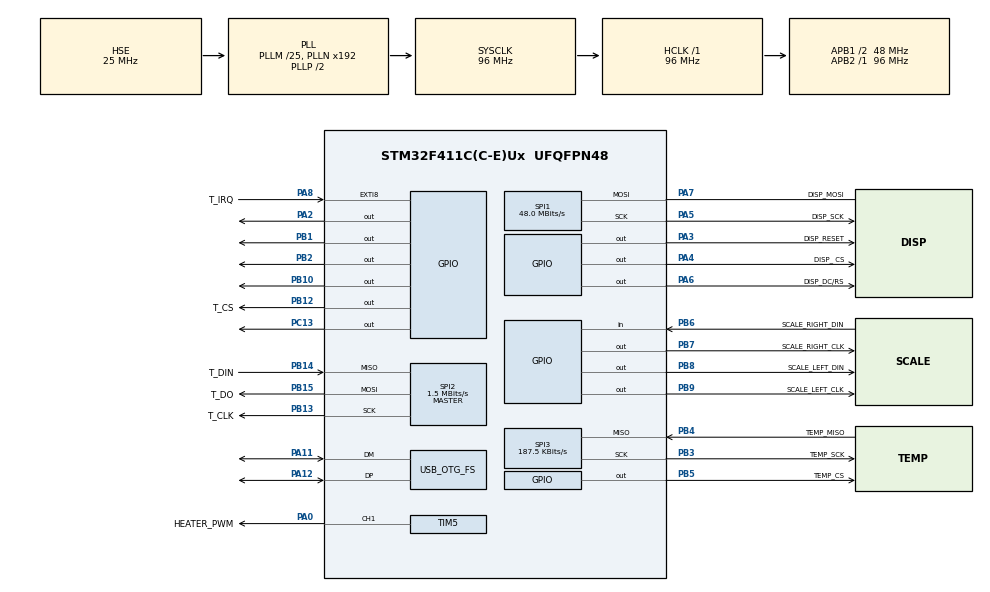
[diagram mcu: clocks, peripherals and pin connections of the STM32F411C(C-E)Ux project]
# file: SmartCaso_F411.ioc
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Dma.Request0=SPI1_TX
Dma.SPI1_TX.0.Direction=DMA_MEMORY_TO_PERIPH
Dma.SPI1_TX.0.FIFOMode=DMA_FIFOMODE_DISABLE
Dma.SPI1_TX.0.Instance=DMA2_Stream2
Dma.SPI1_TX.0.MemDataAlignment=DMA_MDATAALIGN_BYTE
Dma.SPI1_TX.0.MemInc=DMA_MINC_ENABLE
Dma.SPI1_TX.0.Mode=DMA_NORMAL
Dma.SPI1_TX.0.PeriphDataAlignment=DMA_PDATAALIGN_BYTE
Dma.SPI1_TX.0.PeriphInc=DMA_PINC_DISABLE
Dma.SPI1_TX.0.Priority=DMA_PRIORITY_LOW
Mcu.Family=STM32F4
Mcu.Name=STM32F411C(C-E)Ux
Mcu.Package=UFQFPN48
NVIC.DMA2_Stream2_IRQn=true\:0\:0\:false\:false\:true\:false\:true\:true
NVIC.EXTI9_5_IRQn=true\:0\:0\:false\:false\:true\:true\:true\:true
NVIC.OTG_FS_IRQn=true\:0\:0\:false\:false\:true\:false\:true\:true
NVIC.PriorityGroup=NVIC_PRIORITYGROUP_4
NVIC.TIM2_IRQn=true\:0\:0\:false\:false\:true\:true\:true\:true
NVIC.TIM3_IRQn=true\:0\:0\:false\:false\:true\:true\:true\:true
PA0-WKUP.GPIO_Label=HEATER_PWM
PA0-WKUP.Signal=S_TIM5_CH1
PA11.Mode=Device_Only
PA11.Signal=USB_OTG_FS_DM
PA12.Mode=Device_Only
PA12.Signal=USB_OTG_FS_DP
PA13.Mode=Serial_Wire
PA13.Signal=SYS_JTMS-SWDIO
PA14.Mode=Serial_Wire
PA14.Signal=SYS_JTCK-SWCLK
PA2.Signal=GPIO_Output
PA3.GPIO_Label=DISP_RESET
PA3.GPIO_PuPd=GPIO_PULLUP
PA3.PinState=GPIO_PIN_SET
PA3.Signal=GPIO_Output
PA4.GPIO_Label=DISP_ CS
PA4.GPIO_PuPd=GPIO_PULLUP
PA4.PinState=GPIO_PIN_SET
PA4.Signal=GPIO_Output
PA5.GPIO_Label=DISP_SCK
PA5.Mode=Simplex_Bidirectional_Master
PA5.Signal=SPI1_SCK
PA6.GPIO_Label=DISP_DC/RS
PA6.Signal=GPIO_Output
PA7.GPIO_Label=DISP_MOSI
PA7.Mode=Simplex_Bidirectional_Master
PA7.Signal=SPI1_MOSI
PA8.GPIO_Label=T_IRQ
PA8.GPIO_ModeDefaultEXTI=GPIO_MODE_IT_FALLING
PA8.GPIO_PuPd=GPIO_PULLUP
PA8.Signal=GPXTI8
PB1.Signal=GPIO_Output
PB10.GPIO_PuPd=GPIO_PULLDOWN
PB10.Signal=GPIO_Output
PB12.GPIO_Label=T_CS
PB12.Signal=GPIO_Output
PB13.GPIO_Label=T_CLK
PB13.Mode=Full_Duplex_Master
PB13.Signal=SPI2_SCK
PB14.GPIO_Label=T_DIN
PB14.Mode=Full_Duplex_Master
PB14.Signal=SPI2_MISO
PB15.GPIO_Label=T_DO
PB15.Mode=Full_Duplex_Master
PB15.Signal=SPI2_MOSI
PB2.GPIO_PuPd=GPIO_PULLDOWN
PB2.Signal=GPIO_Output
PB3.GPIO_Label=TEMP_SCK
PB3.Mode=RX_Only_Simplex_Unidirect_Master
PB3.Signal=SPI3_SCK
PB4.GPIO_Label=TEMP_MISO
PB4.Mode=RX_Only_Simplex_Unidirect_Master
PB4.Signal=SPI3_MISO
PB5.GPIO_Label=TEMP_CS
PB5.Signal=GPIO_Output
PB6.GPIO_Label=SCALE_RIGHT_DIN
PB6.Signal=GPIO_Input
PB7.GPIO_Label=SCALE_RIGHT_CLK
PB7.Signal=GPIO_Output
PB8.GPIO_Label=SCALE_LEFT_DIN
PB8.Signal=GPIO_Output
PB9.GPIO_Label=SCALE_LEFT_CLK
PB9.Signal=GPIO_Output
PC13-ANTI_TAMP.GPIO_PuPd=GPIO_PULLUP
PC13-ANTI_TAMP.PinState=GPIO_PIN_SET
PC13-ANTI_TAMP.Signal=GPIO_Output
PC14-OSC32_IN.Mode=LSE-External-Oscillator
PC14-OSC32_IN.Signal=RCC_OSC32_IN
PC15-OSC32_OUT.Mode=LSE-External-Oscillator
PC15-OSC32_OUT.Signal=RCC_OSC32_OUT
PH0\ -\ OSC_IN.Mode=HSE-External-Oscillator
PH0\ -\ OSC_IN.Signal=RCC_OSC_IN
PH1\ -\ OSC_OUT.Mode=HSE-External-Oscillator
PH1\ -\ OSC_OUT.Signal=RCC_OSC_OUT
ProjectManager.HeapSize=0x200
ProjectManager.StackSize=0x400
ProjectManager.TargetToolchain=STM32CubeIDE
RCC.48MHZClocksFreq_Value=48000000
RCC.AHBFreq_Value=96000000
RCC.APB1CLKDivider=RCC_HCLK_DIV2
RCC.APB1Freq_Value=48000000
RCC.APB1TimFreq_Value=96000000
RCC.APB2Freq_Value=96000000
RCC.APB2TimFreq_Value=96000000
RCC.CortexFreq_Value=96000000
RCC.HCLKFreq_Value=96000000
RCC.HSE_VALUE=25000000
RCC.HSI_VALUE=16000000
RCC.PLLM=25
RCC.SYSCLKFreq_VALUE=96000000
RCC.SYSCLKSource=RCC_SYSCLKSOURCE_PLLCLK
RCC.VCOOutputFreq_Value=192000000
SH.S_TIM5_CH1.0=TIM5_CH1,PWM Generation1 CH1
SPI1.BaudRatePrescaler=SPI_BAUDRATEPRESCALER_2
SPI1.CalculateBaudRate=48.0 MBits/s
SPI1.Direction=SPI_DIRECTION_1LINE
SPI1.Mode=SPI_MODE_MASTER
SPI1.VirtualType=VM_MASTER
SPI2.BaudRatePrescaler=SPI_BAUDRATEPRESCALER_32
SPI2.CalculateBaudRate=1.5 MBits/s
SPI2.Direction=SPI_DIRECTION_2LINES
SPI2.Mode=SPI_MODE_MASTER
SPI2.VirtualType=VM_MASTER
SPI3.BaudRatePrescaler=SPI_BAUDRATEPRESCALER_256
SPI3.CalculateBaudRate=187.5 KBits/s
SPI3.DataSize=SPI_DATASIZE_16BIT
SPI3.Direction=SPI_DIRECTION_2LINES_RXONLY
SPI3.Mode=SPI_MODE_MASTER
SPI3.VirtualType=VM_MASTER
STMicroelectronics.X-CUBE-TOUCHGFX.4.23.1.ApplicationCcGraphicsJjApplication=TouchGFXOoGenerator
STMicroelectronics.X-CUBE-TOUCHGFX.4.23.1.tgfx_buffering_strategy=Partial
STMicroelectronics.X-CUBE-TOUCHGFX.4.23.1.tgfx_custom_height=320
STMicroelectronics.X-CUBE-TOUCHGFX.4.23.1.tgfx_custom_width=480
STMicroelectronics.X-CUBE-TOUCHGFX.4.23.1_IsPackSelfContextualization=true
TIM2.Period=5555
TIM2.Prescaler=959
TIM3.Period=2499
TIM3.Prescaler=9599
TIM5.Channel-PWM\ Generation1\ CH1=TIM_CHANNEL_1
TIM5.Period=9999
TIM5.Prescaler=9599
USB_DEVICE.CLASS_NAME_FS=CDC
USB_DEVICE.VirtualMode=Cdc
USB_DEVICE.VirtualModeFS=Cdc_FS
USB_OTG_FS.VirtualMode=Device_Only
VP_CRC_VS_CRC.Mode=CRC_Activate
VP_STMicroelectronics.X-CUBE-TOUCHGFX_VS_GraphicsJjApplication_4.23.1.Mode=GraphicsJjApplication
VP_TIM2_VS_ClockSourceINT.Mode=Internal
VP_TIM3_VS_ClockSourceINT.Mode=Internal
VP_USB_DEVICE_VS_USB_DEVICE_CDC_FS.Mode=CDC_FS
board=custom

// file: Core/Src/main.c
/* USER CODE BEGIN Header */
/**
  ******************************************************************************
  * @file           : main.c
  * @brief          : Main program body
  ******************************************************************************
  * @attention
  *
  * Copyright (c) 2024 STMicroelectronics.
  * All rights reserved.
  *
  * This software is licensed under terms that can be found in the LICENSE file
  * in the root directory of this software component.
  * If no LICENSE file comes with this software, it is provided AS-IS.
  *
  ******************************************************************************
  */
/* USER CODE END Header */
#include "main.h"
#include "crc.h"
#include "dma.h"
#include "spi.h"
#include "tim.h"
#include "usb_device.h"
#include "gpio.h"
#include "app_touchgfx.h"

/* USER CODE BEGIN Includes */
#include "ST7796.h"
#include "xpt2046.h"
#include "TemperatureControl.h"
#include "MAX6675.h"
#include "HX711.h"
#include "config.h"
/* USER CODE END Includes */

/* USER CODE BEGIN PD */
//#define scale
/* USER CODE END PD */

/* USER CODE BEGIN PV */
hx711_t loadcell_right;
hx711_t loadcell_left;

PIDController temp_controller;
/* USER CODE END PV */

void SystemClock_Config(void);
/* USER CODE BEGIN PFP */

extern uint8_t CDC_Transmit_FS(uint8_t* Buf, uint16_t Len);
void InitLoadCells(void);
void InitPIDController(void);

/* USER CODE END PFP */

/* USER CODE BEGIN 0 */

//USB buffer
uint8_t buffer[15];

//Temperature control variables
float temperature;
float goal_temp=TARGET_TEMP;
uint32_t control;

//Scale variables
long weightLeft = 0;
long weightRight = 0;
long weight=0;
bool ReadSensorData=true;
/* USER CODE END 0 */

int main(void)
{
  /* USER CODE BEGIN 1 */
	InitPIDController();
  /* USER CODE END 1 */

  /* MCU Configuration--------------------------------------------------------*/

  /* Reset of all peripherals, Initializes the Flash interface and the Systick. */
  HAL_Init();

  /* Configure the system clock */
  SystemClock_Config();

  /* Initialize all configured peripherals */
  MX_GPIO_Init();
  MX_DMA_Init();
  MX_SPI1_Init();
  MX_SPI2_Init();
  MX_SPI3_Init();
  MX_TIM2_Init();
  MX_CRC_Init();
  MX_TIM3_Init();
  MX_TIM5_Init();
  MX_USB_DEVICE_Init();
  MX_TouchGFX_Init();
  /* USER CODE BEGIN 2 */

//Start Timers
  HAL_TIM_Base_Start_IT(&htim2);
  HAL_TIM_Base_Start_IT(&htim3);
  HAL_TIM_PWM_Start(&htim5,TIM_CHANNEL_1);

 //Initialize own modules
   Init_LCD();
   XPT2046_Init();

   InitLoadCells();

  /* USER CODE END 2 */

  /* Infinite loop */
  /* USER CODE BEGIN WHILE */
  while (1)
  {
#ifdef scale
	  if(ReadSensorData==true){
		  weightRight = get_weight(&loadcell_right, 1, CHANNEL_A);
		  weightLeft = get_weight(&loadcell_left, 1, CHANNEL_A);
		  weight=weightRight+weightLeft;
		  sprintf((char*)buffer, "%.2f;%ld\n", temperature,weight);
		  CDC_Transmit_FS((uint8_t*)buffer, strlen((const char*)buffer));
		  ReadSensorData=false;
	  }
#endif
    /* USER CODE END WHILE */

  MX_TouchGFX_Process();
  }
}

void SystemClock_Config(void)
{
  RCC_OscInitTypeDef RCC_OscInitStruct = {0};
  RCC_ClkInitTypeDef RCC_ClkInitStruct = {0};

  /** Configure the main internal regulator output voltage
  */
  __HAL_RCC_PWR_CLK_ENABLE();
  __HAL_PWR_VOLTAGESCALING_CONFIG(PWR_REGULATOR_VOLTAGE_SCALE1);

  /** Initializes the RCC Oscillators according to the specified parameters
  * in the RCC_OscInitTypeDef structure.
  */
  RCC_OscInitStruct.OscillatorType = RCC_OSCILLATORTYPE_HSE;
  RCC_OscInitStruct.HSEState = RCC_HSE_ON;
  RCC_OscInitStruct.PLL.PLLState = RCC_PLL_ON;
  RCC_OscInitStruct.PLL.PLLSource = RCC_PLLSOURCE_HSE;
  RCC_OscInitStruct.PLL.PLLM = 25;
  RCC_OscInitStruct.PLL.PLLN = 192;
  RCC_OscInitStruct.PLL.PLLP = RCC_PLLP_DIV2;
  RCC_OscInitStruct.PLL.PLLQ = 4;
  if (HAL_RCC_OscConfig(&RCC_OscInitStruct) != HAL_OK)
  {
    Error_Handler();
  }

  /** Initializes the CPU, AHB and APB buses clocks
  */
  RCC_ClkInitStruct.ClockType = RCC_CLOCKTYPE_HCLK|RCC_CLOCKTYPE_SYSCLK
                              |RCC_CLOCKTYPE_PCLK1|RCC_CLOCKTYPE_PCLK2;
  RCC_ClkInitStruct.SYSCLKSource = RCC_SYSCLKSOURCE_PLLCLK;
  RCC_ClkInitStruct.AHBCLKDivider = RCC_SYSCLK_DIV1;
  RCC_ClkInitStruct.APB1CLKDivider = RCC_HCLK_DIV2;
  RCC_ClkInitStruct.APB2CLKDivider = RCC_HCLK_DIV1;

  if (HAL_RCC_ClockConfig(&RCC_ClkInitStruct, FLASH_LATENCY_3) != HAL_OK)
  {
    Error_Handler();
  }
}

/* USER CODE BEGIN 4 */

/**
  * @brief  Initialization the left and right loadcells
  * @param None
  * @retval None
  */

void InitLoadCells(void){
#ifdef scale
	hx711_init(&loadcell_right,SCALE_RIGHT_CLK_GPIO_Port,SCALE_RIGHT_CLK_Pin, SCALE_RIGHT_DIN_GPIO_Port,SCALE_RIGHT_DIN_Pin);
	set_scale(&loadcell_right,RIGHT_SCALING,1);
	set_gain(&loadcell_right, 128, 32);
	tare_all(&loadcell_right,10);

	hx711_init(&loadcell_left,SCALE_LEFT_CLK_GPIO_Port,SCALE_LEFT_CLK_Pin, SCALE_LEFT_DIN_GPIO_Port,SCALE_LEFT_DIN_Pin);
	set_scale(&loadcell_left,LEFT_SCALING,1);
	set_gain(&loadcell_left, 128, 32);
	tare_all(&loadcell_left,10);
#endif
}

void InitPIDController(void){

	temp_controller.Kd=2500;
	  temp_controller.Ki=150;
	  temp_controller.Kp=800;
	  temp_controller.T=0.25;
	  temp_controller.tau=0.1;
	  temp_controller.limMax=4999;
	  temp_controller.limMin=0;
	  temp_controller.limMaxInt=300;
	  temp_controller.limMinInt=-4999;
	  PIDController_Init(&temp_controller);

}

extern void touchgfxSignalVSync(void);

void HAL_TIM_PeriodElapsedCallback(TIM_HandleTypeDef *htim)
{
	if (htim->Instance == TIM2) {
		touchgfxSignalVSync();
	}
	if (htim->Instance == TIM1) {

	}
	//making a timer interrupt every 0.25 seconds
	if (htim->Instance == TIM3) {
		 temperature=Max6675_Read_Temp();
		 control=PIDController_Update(&temp_controller,goal_temp,temperature);
		 __HAL_TIM_SET_COMPARE(&htim5, TIM_CHANNEL_1, control);
		 ReadSensorData=true;

	}
}
/* USER CODE END 4 */

void Error_Handler(void)
{
  __disable_irq();
  while (1)
  {
  }
}
